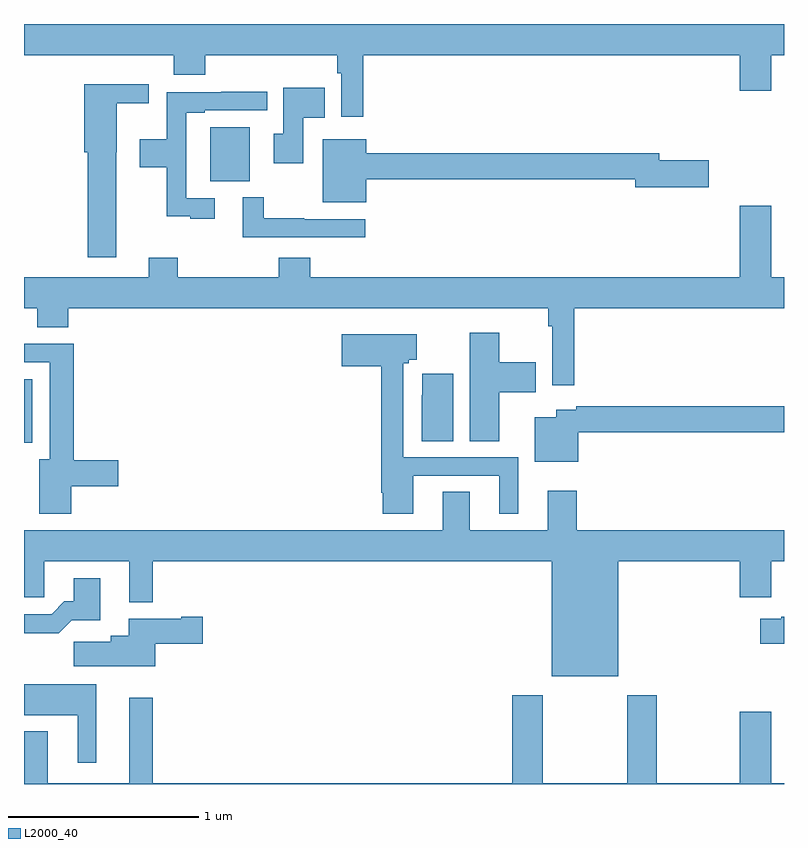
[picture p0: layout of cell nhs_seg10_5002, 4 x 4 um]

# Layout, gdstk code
import gdstk
lib = gdstk.Library(unit=1e-6, precision=1e-09)
def R(c, l, rs):  # rectangles x0, y0, x1, y1
    for r in rs: c.add(gdstk.rectangle(r[:2], r[2:], *l))
def P(c, l, *ps):  # polygons
    for p in ps: c.add(gdstk.Polygon(p, *l))
L2000_40 = (2000, 40)

nhs_seg10_5002 = lib.new_cell('nhs_seg10_5002')
R(nhs_seg10_5002, L2000_40, [(401,1278.296,401.044,1278.631), (401.981,1279.673,402.187,1279.957)])
P(nhs_seg10_5002, L2000_40, [(402.785,1280.336),(404.768,1280.336),(404.768,1280.148),(404.932,1280.148),(404.932,1280.336),(405,1280.336),(405,1280.5),(401,1280.5),(401,1280.336),(401.789,1280.336),(401.789,1280.234),(401.954,1280.234),(401.954,1280.336),(402.649,1280.336),(402.649,1280.24),(402.669,1280.24),(402.669,1280.013),(402.785,1280.013)],
  [(401.485,1279.824),(401.488,1279.824),(401.488,1280.084),(401.656,1280.084),(401.656,1280.182),(401.318,1280.182),(401.318,1279.824),(401.336,1279.824),(401.336,1279.272),(401.485,1279.272)],
  [(402.469,1280.006),(402.584,1280.006),(402.584,1280.164),(402.365,1280.164),(402.365,1279.923),(402.315,1279.923),(402.315,1279.767),(402.469,1279.767)],
  [(402.004,1279.584),(401.853,1279.584),(401.853,1280.034),(401.95,1280.034),(401.95,1280.046),(402.28,1280.046),(402.28,1280.144),(402.037,1280.144),(402.037,1280.142),(401.752,1280.142),(401.752,1279.894),(401.61,1279.894),(401.61,1279.747),(401.752,1279.747),(401.752,1279.487),(401.876,1279.487),(401.876,1279.476),(402.004,1279.476)],
  [(402.802,1279.684),(404.216,1279.684),(404.216,1279.642),(404.605,1279.642),(404.605,1279.784),(404.344,1279.784),(404.344,1279.82),(402.802,1279.82),(402.802,1279.894),(402.572,1279.894),(402.572,1279.562),(402.802,1279.562)],
  [(402.796,1279.473),(402.476,1279.473),(402.476,1279.478),(402.262,1279.478),(402.262,1279.588),(402.152,1279.588),(402.152,1279.377),(402.796,1279.377)],
  [(403.895,1279.004),(405,1279.004),(405,1279.168),(404.932,1279.168),(404.932,1279.543),(404.768,1279.543),(404.768,1279.168),(402.506,1279.168),(402.506,1279.27),(402.341,1279.27),(402.341,1279.168),(401.81,1279.168),(401.81,1279.27),(401.657,1279.27),(401.657,1279.168),(401,1279.168),(401,1279.004),(401.069,1279.004),(401.069,1278.905),(401.234,1278.905),(401.234,1279.004),(403.759,1279.004),(403.759,1278.908),(403.779,1278.908),(403.779,1278.6),(403.895,1278.6)],
  [(403.501,1278.563),(403.694,1278.563),(403.694,1278.721),(403.501,1278.721),(403.501,1278.874),(403.346,1278.874),(403.346,1278.304),(403.501,1278.304)],
  [(403.048,1278.123),(403.502,1278.123),(403.502,1277.922),(403.6,1277.922),(403.6,1278.219),(402.996,1278.219),(402.996,1278.714),(403.024,1278.714),(403.024,1278.733),(403.067,1278.733),(403.067,1278.868),(402.672,1278.868),(402.672,1278.698),(402.88,1278.698),(402.88,1278.034),(402.887,1278.034),(402.887,1277.922),(403.048,1277.922)],
  [(401.248,1278.068),(401.497,1278.068),(401.497,1278.203),(401.261,1278.203),(401.261,1278.818),(401,1278.818),(401,1278.72),(401.135,1278.72),(401.135,1278.208),(401.081,1278.208),(401.081,1277.922),(401.248,1277.922)],
  [(403.258,1278.658),(403.096,1278.658),(403.096,1278.545),(403.094,1278.545),(403.094,1278.304),(403.258,1278.304)],
  [(403.918,1278.352),(405,1278.352),(405,1278.488),(403.906,1278.488),(403.906,1278.469),(403.802,1278.469),(403.802,1278.43),(403.688,1278.43),(403.688,1278.197),(403.918,1278.197)],
  [(404.128,1277.672),(404.768,1277.672),(404.768,1277.484),(404.932,1277.484),(404.932,1277.672),(405,1277.672),(405,1277.836),(403.91,1277.836),(403.91,1278.043),(403.757,1278.043),(403.757,1277.836),(403.345,1277.836),(403.345,1278.038),(403.205,1278.038),(403.205,1277.836),(401,1277.836),(401,1277.482),(401.106,1277.482),(401.106,1277.672),(401.555,1277.672),(401.555,1277.456),(401.677,1277.456),(401.677,1277.672),(403.778,1277.672),(403.778,1277.066),(404.128,1277.066)],
  [(401.252,1277.363),(401.401,1277.363),(401.401,1277.584),(401.261,1277.584),(401.261,1277.461),(401.212,1277.461),(401.145,1277.394),(401,1277.394),(401,1277.294),(401.183,1277.294)],
  [(405,1277.379),(404.986,1277.379),(404.986,1277.371),(404.874,1277.371),(404.874,1277.237),(405,1277.237)],
  [(401.692,1277.237),(401.941,1277.237),(401.941,1277.379),(401.828,1277.379),(401.828,1277.371),(401.552,1277.371),(401.552,1277.281),(401.456,1277.281),(401.456,1277.249),(401.262,1277.249),(401.262,1277.12),(401.692,1277.12)],
  [(401.38,1277.026),(401,1277.026),(401,1276.862),(401.282,1276.862),(401.282,1276.611),(401.38,1276.611)],
  [(405,1276.504),(404.932,1276.504),(404.932,1276.879),(404.768,1276.879),(404.768,1276.504),(404.331,1276.504),(404.331,1276.966),(404.176,1276.966),(404.176,1276.504),(403.731,1276.504),(403.731,1276.966),(403.571,1276.966),(403.571,1276.504),(401.677,1276.504),(401.677,1276.954),(401.555,1276.954),(401.555,1276.504),(401.125,1276.504),(401.125,1276.777),(401,1276.777),(401,1276.5),(405,1276.5)])

lib.write_gds('nhs_seg10_5002.gds')
